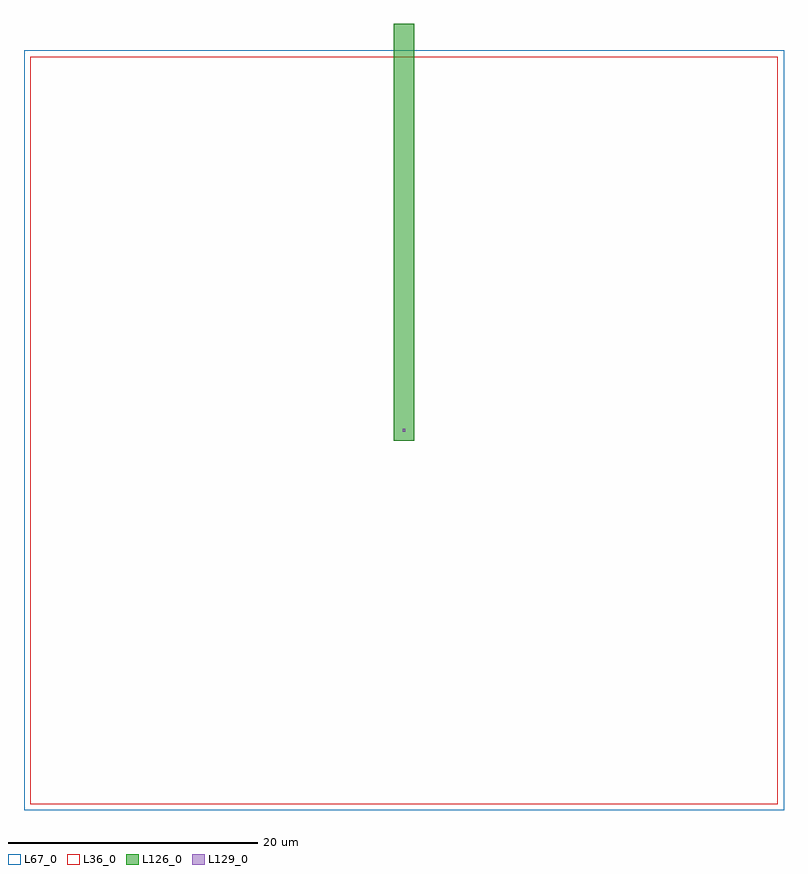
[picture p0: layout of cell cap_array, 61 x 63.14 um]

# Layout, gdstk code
import gdstk
lib = gdstk.Library(unit=1e-6, precision=1e-09)
def R(c, l, rs):  # rectangles x0, y0, x1, y1
    for r in rs: c.add(gdstk.rectangle(r[:2], r[2:], *l))
L36_0 = (36, 0)
L67_0 = (67, 0)
L126_0 = (126, 0)
L129_0 = (129, 0)

cap_array = lib.new_cell('cap_array')
R(cap_array, L36_0, [(0.5,0.5,60.5,60.5)])
R(cap_array, L67_0, [(0,0,61,61)])
R(cap_array, L126_0, [(29.68,29.68,31.32,31.32), (29.68,31.32,31.32,61.5), (29.68,61.5,31.32,63.14)])
R(cap_array, L129_0, [(30.39,30.39,30.61,30.61)])

lib.write_gds('cap_array.gds')
